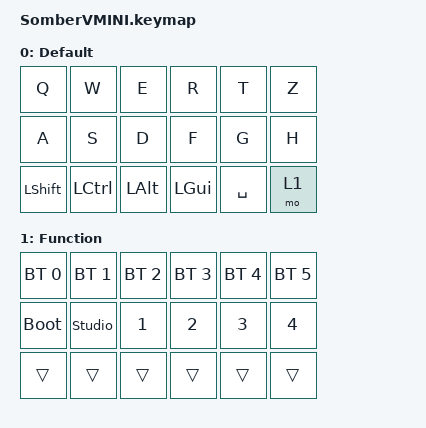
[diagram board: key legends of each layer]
#include <behaviors.dtsi>
#include <dt-bindings/zmk/keys.h>
#include <dt-bindings/zmk/bt.h>

/ {
    keymap {
        compatible = "zmk,keymap";

        default_layer {
            display-name = "Default";
            bindings = <
                &kp Q &kp W &kp E &kp R &kp T &kp Z
                &kp A &kp S &kp D &kp F &kp G &kp H
                &kp LSHIFT &kp LCTRL &kp LALT &kp LGUI &kp SPACE &mo 1
            >;
        };

        function_layer {
            display-name = "Function";
            bindings = <
                &bt BT_SEL 0 &bt BT_SEL 1 &bt BT_SEL 2 
                &bt BT_SEL 3 &bt BT_SEL 4 &bt BT_SEL 5
                &bootloader &studio_unlock &kp N1 &kp N2 
                &kp N3 &kp N4
                &trans &trans &trans &trans &trans &trans
            >;
        };
    };
};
